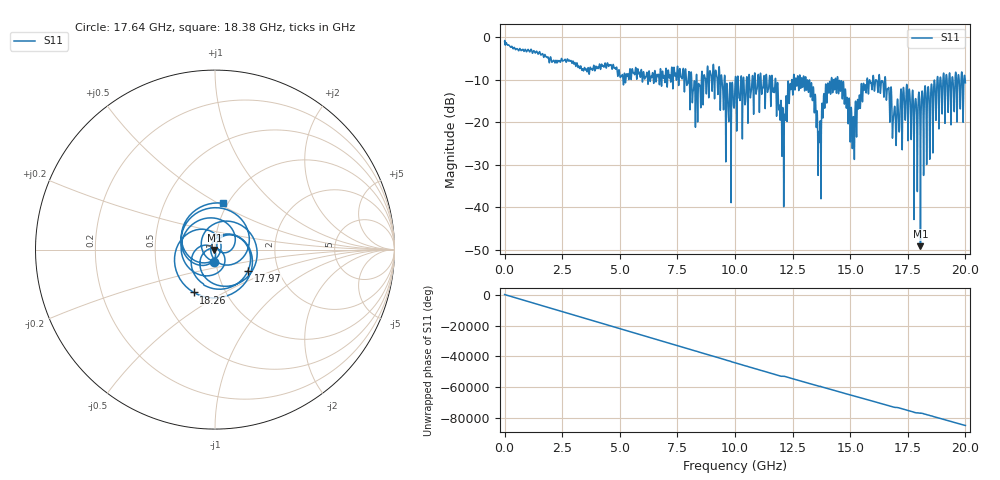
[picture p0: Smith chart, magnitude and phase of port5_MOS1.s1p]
! MS46122B
! 2250307/22442219
! 6/16/2025 12:54:49 PM
! C:\USERS\SPARKY\DOCUMENTS\VNA_DATA\JUNE16_2025\295K\PORT5_MOS1.S1P
! CHANNEL.1
! TR.MEASUREMENT
! RAW.DATA
# GHZ S RI R 50.0
! FREQ.GHZ  S11RE  S11IM
!; PortSelection: Port_1
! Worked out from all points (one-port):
!   10001 points, 1 MHz to 20 GHz, reference 50 ohm
!   lowest |S11| = -49.2 dB at 18.05 GHz (marker M1), VSWR 1.01, Z = 49.7 - j0.194 ohm
!   |S11| at or under -10 dB: 13.08 GHz to 14.18 GHz (1.098 GHz wide, 8.06 % of centre); 14.46 GHz to 15.73 GHz (1.265 GHz wide, 8.38 % of centre); 16.53 GHz to 18.77 GHz (2.239 GHz wide, 12.7 % of centre) (the widest 3 of 72)
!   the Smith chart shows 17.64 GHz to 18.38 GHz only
!   S11 on the Smith chart (normalised r, x): 17.64 GHz: 0.98, -0.13; 17.97 GHz: 1.40, -0.35; 18.26 GHz: 0.71, -0.37; 18.38 GHz: 0.95, +0.53
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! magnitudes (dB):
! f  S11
! 1 MHz  -1.0
! 2.501 GHz  -5.3
! 5.001 GHz  -8.9
! 7.501 GHz  -6.8
! 9.239 GHz  -11.0
! 10 GHz  -11.4
! 11.68 GHz  -12.0
! 12.1 GHz  -24.5
! 12.5 GHz  -13.0
! 13.32 GHz  -10.7
! 13.66 GHz  -24.5
! 13.86 GHz  -13.3
! 14.11 GHz  -10.5
! 14.62 GHz  -10.4
! 15 GHz  -24.0
! 15.18 GHz  -27.9
! 15.56 GHz  -12.0
! 15.92 GHz  -11.2
! 16.59 GHz  -13.4
! 16.92 GHz  -16.6
! 17.5 GHz  -20.6
! 17.64 GHz  -23.5
! 17.97 GHz  -13.2
! 18.05 GHz  -49.2
! 18.26 GHz  -11.5
! 18.38 GHz  -11.6
! 18.72 GHz  -19.5
! 20 GHz  -10.7
